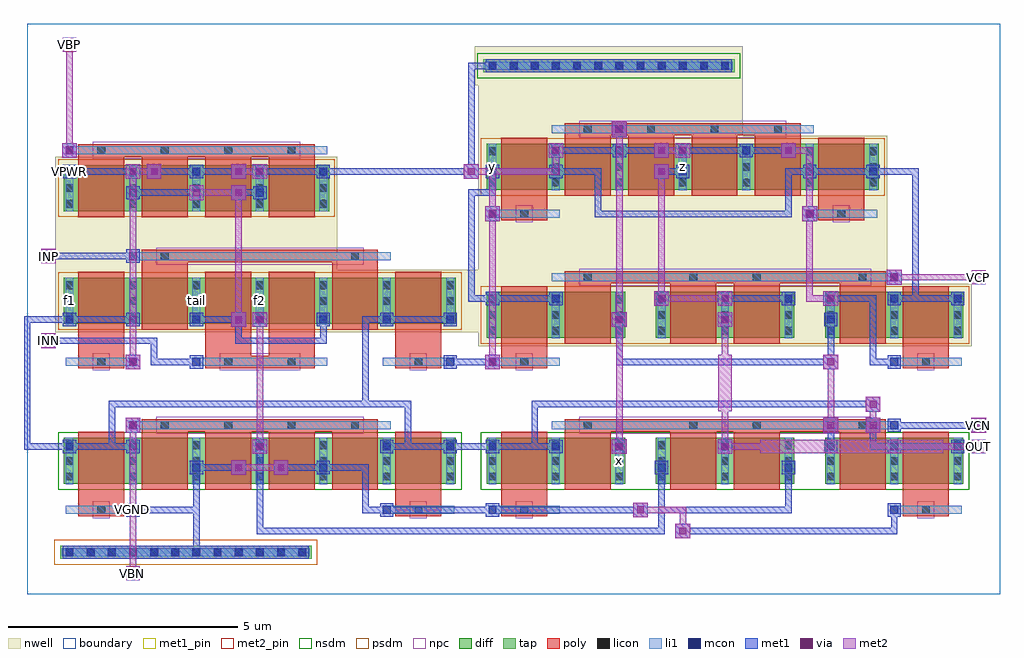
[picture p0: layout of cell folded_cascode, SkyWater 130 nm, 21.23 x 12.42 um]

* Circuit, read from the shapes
.subckt folded_cascode INN INP OUT VBN VBP VCN VCP VGND VPWR f1 f2 tail x y z
XM1 f1 VGND f1 VGND sky130_fd_pr__nfet_01v8 w=1 l=1 m=4
XM2 VGND VBN f1 VGND sky130_fd_pr__nfet_01v8 w=1 l=1 m=2
XM3 f2 VBN VGND VGND sky130_fd_pr__nfet_01v8 w=1 l=1 m=2
XM4 x VCN f1 VGND sky130_fd_pr__nfet_01v8 w=1 l=1 m=2
XM5 OUT VCN f2 VGND sky130_fd_pr__nfet_01v8 w=1 l=1 m=2
XM6 f1 VPWR f1 VPWR sky130_fd_pr__pfet_01v8 w=1 l=1 m=2
XM7 tail VBP VPWR VPWR sky130_fd_pr__pfet_01v8 w=1 l=1 m=4
XM8 tail INP f1 VPWR sky130_fd_pr__pfet_01v8 w=1 l=1 m=2
XM9 f2 INN tail VPWR sky130_fd_pr__pfet_01v8 w=1 l=1 m=2
XM10 y VPWR y VPWR sky130_fd_pr__pfet_01v8 w=1 l=1 m=4
XM11 x VCP y VPWR sky130_fd_pr__pfet_01v8 w=1 l=1 m=2
XM12 VPWR x y VPWR sky130_fd_pr__pfet_01v8 w=1 l=1 m=2
XM13 z x VPWR VPWR sky130_fd_pr__pfet_01v8 w=1 l=1 m=2
XM14 OUT VCP z VPWR sky130_fd_pr__pfet_01v8 w=1 l=1 m=2
.ends

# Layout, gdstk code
import gdstk
lib = gdstk.Library(unit=1e-6, precision=1e-09)
def R(c, l, rs):  # rectangles x0, y0, x1, y1
    for r in rs: c.add(gdstk.rectangle(r[:2], r[2:], *l))
def A(c, l, x, y, w, h, nx, ny, dx, dy):  # array of equal rectangles
    R(c, l, [(x+i*dx, y+j*dy, x+i*dx+w, y+j*dy+h) for i in range(nx) for j in range(ny)])
nwell = (64, 20)
diff = (65, 20)
tap = (65, 44)
poly = (66, 20)
licon = (66, 44)
li1 = (67, 20)
mcon = (67, 44)
met1_pin = (68, 16)
met1 = (68, 20)
via = (68, 44)
met2_pin = (69, 16)
met2 = (69, 20)
nsdm = (93, 44)
psdm = (94, 20)
npc = (95, 20)
boundary = (235, 4)

folded_cascode = lib.new_cell('folded_cascode')
R(folded_cascode, nwell, [(9.815,5.4,20.545,5.705), (0.615,5.705,20.545,6.76), (0.615,6.76,18.705,7.065), (0.615,7.065,6.745,9.52), (9.815,7.065,18.705,9.98), (9.815,9.98,15.565,11.08), (9.735,11.08,15.565,11.92)])
A(folded_cascode, diff, 9.995, 2.405, 3.01, 1, 3, 2, 3.68, 3.175)
R(folded_cascode, diff, [(0.795,2.405,9.325,3.405), (0.795,5.885,9.325,6.885), (0.795,8.34,6.565,9.34), (9.995,8.8,18.525,9.8)])
R(folded_cascode, tap, [(0.715,0.775,6.185,1.065), (9.915,11.355,15.385,11.645)])
A(folded_cascode, poly, 10.31, 1.705, 1, 0.27, 1, 3, 0, 3.22)
A(folded_cascode, poly, 2.49, 2.275, 1, 1.405, 4, 1, 1.38, 0)
A(folded_cascode, poly, 1.11, 8.21, 1, 1.45, 4, 1, 1.38, 0)
A(folded_cascode, poly, 11.69, 8.67, 1, 1.45, 4, 1, 1.38, 0)
R(folded_cascode, poly, [(1.11,1.705,2.11,1.975), (8.01,1.705,9.01,1.975), (19.05,1.705,20.05,1.975), (1.11,1.84,2.11,3.535), (8.01,1.84,9.01,3.535), (10.31,1.84,11.31,3.535), (19.05,1.84,20.05,3.535), (11.69,2.275,12.69,3.68), (13.99,2.275,14.99,3.68), (15.37,2.275,16.37,3.68), (17.67,2.275,18.67,3.68), (2.49,3.545,7.63,3.815), (11.69,3.545,18.67,3.815), (1.11,4.925,2.11,5.195), (3.87,4.925,6.25,5.195), (8.01,4.925,9.01,5.195), (19.05,4.925,20.05,5.195), (1.11,5.06,2.11,7.015), (3.87,5.06,4.87,7.015), (5.25,5.06,6.25,7.015), (8.01,5.06,9.01,7.015), (10.31,5.06,11.31,6.71), (19.05,5.06,20.05,6.71), (11.69,5.45,12.69,6.9), (13.99,5.45,14.99,6.9), (15.37,5.45,16.37,6.9), (17.67,5.45,18.67,6.9), (2.49,5.755,3.49,7.36), (6.63,5.755,7.63,7.36), (11.69,6.765,18.67,7.035), (2.49,7.225,7.63,7.495), (17.21,8.145,18.21,8.415), (10.31,8.28,11.31,9.93), (17.21,8.28,18.21,9.93), (1.11,9.525,6.25,9.795), (11.69,9.985,16.83,10.255)])
A(folded_cascode, licon, 0.835, 0.835, 0.17, 0.17, 12, 1, 0.46, 0)
A(folded_cascode, licon, 10.725, 1.755, 0.17, 0.17, 1, 3, 0, 3.22)
A(folded_cascode, licon, 0.835, 2.48, 0.17, 0.17, 7, 3, 1.38, 0.34)
A(folded_cascode, licon, 10.035, 2.48, 0.17, 0.17, 3, 3, 1.38, 0.34)
A(folded_cascode, licon, 13.715, 2.48, 0.17, 0.17, 3, 3, 1.38, 0.34)
A(folded_cascode, licon, 17.395, 2.48, 0.17, 0.17, 3, 3, 1.38, 0.34)
A(folded_cascode, licon, 2.905, 3.595, 0.17, 0.17, 4, 1, 1.38, 0)
A(folded_cascode, licon, 10.035, 5.655, 0.17, 0.17, 3, 3, 1.38, 0.34)
A(folded_cascode, licon, 13.715, 5.655, 0.17, 0.17, 3, 3, 1.38, 0.34)
A(folded_cascode, licon, 17.395, 5.655, 0.17, 0.17, 3, 3, 1.38, 0.34)
A(folded_cascode, licon, 0.835, 5.96, 0.17, 0.17, 7, 3, 1.38, 0.34)
A(folded_cascode, licon, 0.835, 8.415, 0.17, 0.17, 5, 3, 1.38, 0.34)
A(folded_cascode, licon, 10.035, 8.875, 0.17, 0.17, 7, 3, 1.38, 0.34)
A(folded_cascode, licon, 1.525, 9.575, 0.17, 0.17, 4, 1, 1.38, 0)
A(folded_cascode, licon, 12.105, 10.035, 0.17, 0.17, 4, 1, 1.38, 0)
A(folded_cascode, licon, 10.035, 11.415, 0.17, 0.17, 12, 1, 0.46, 0)
R(folded_cascode, licon, [(1.525,1.755,1.695,1.925), (8.425,1.755,8.595,1.925), (19.465,1.755,19.635,1.925), (12.105,3.595,12.275,3.765), (14.405,3.595,14.575,3.765), (15.785,3.595,15.955,3.765), (18.085,3.595,18.255,3.765), (1.525,4.975,1.695,5.145), (4.285,4.975,4.455,5.145), (5.665,4.975,5.835,5.145), (8.425,4.975,8.595,5.145), (19.465,4.975,19.635,5.145), (12.105,6.815,12.275,6.985), (14.405,6.815,14.575,6.985), (15.785,6.815,15.955,6.985), (18.085,6.815,18.255,6.985), (2.905,7.275,3.075,7.445), (7.045,7.275,7.215,7.445), (17.625,8.195,17.795,8.365)])
A(folded_cascode, li1, 10.035, 1.755, 1.55, 0.17, 1, 3, 0, 3.22)
A(folded_cascode, li1, 0.835, 2.4, 0.17, 1.01, 7, 2, 1.38, 3.48)
A(folded_cascode, li1, 10.035, 2.4, 0.17, 1.01, 3, 2, 1.38, 3.175)
A(folded_cascode, li1, 13.715, 2.4, 0.17, 1.01, 3, 2, 1.38, 3.175)
A(folded_cascode, li1, 17.395, 2.4, 0.17, 1.01, 3, 2, 1.38, 3.175)
A(folded_cascode, li1, 0.835, 8.335, 0.17, 1.01, 5, 1, 1.38, 0)
A(folded_cascode, li1, 10.035, 8.795, 0.17, 1.01, 7, 1, 1.38, 0)
R(folded_cascode, li1, [(0.755,0.835,6.145,1.005), (0.835,1.755,2.385,1.925), (7.735,1.755,9.285,1.925), (18.775,1.755,20.325,1.925), (2.215,3.595,7.905,3.765), (11.415,3.595,18.945,3.765), (0.835,4.975,2.385,5.145), (3.595,4.975,6.525,5.145), (7.735,4.975,9.285,5.145), (18.775,4.975,20.325,5.145), (11.415,6.815,18.945,6.985), (2.215,7.275,7.905,7.445), (16.935,8.195,18.485,8.365), (0.835,9.575,6.525,9.745), (11.415,10.035,17.105,10.205), (9.955,11.415,15.345,11.585)])
A(folded_cascode, mcon, 0.835, 0.835, 0.17, 0.17, 12, 1, 0.46, 0)
A(folded_cascode, mcon, 2.215, 3.135, 0.17, 0.17, 3, 1, 2.76, 0)
A(folded_cascode, mcon, 10.035, 3.135, 0.17, 0.17, 3, 1, 1.38, 0)
A(folded_cascode, mcon, 17.395, 3.135, 0.17, 0.17, 3, 1, 1.38, 0)
A(folded_cascode, mcon, 18.775, 3.595, 0.17, 0.17, 1, 3, 0, 1.38)
A(folded_cascode, mcon, 0.835, 5.895, 0.17, 0.17, 7, 1, 1.38, 0)
A(folded_cascode, mcon, 12.795, 5.895, 0.17, 0.17, 3, 1, 2.3, 0)
A(folded_cascode, mcon, 0.835, 9.115, 0.17, 0.17, 3, 1, 2.76, 0)
A(folded_cascode, mcon, 11.415, 9.115, 0.17, 0.17, 3, 1, 2.76, 0)
A(folded_cascode, mcon, 10.035, 11.415, 0.17, 0.17, 12, 1, 0.46, 0)
R(folded_cascode, mcon, [(2.215,1.755,2.385,1.925), (7.735,1.755,7.905,1.925), (10.035,1.755,10.205,1.925), (18.775,1.755,18.945,1.925), (3.595,2.675,3.765,2.845), (6.355,2.675,6.525,2.845), (13.715,2.675,13.885,2.845), (16.475,2.675,16.645,2.845), (0.835,3.135,1.005,3.305), (9.115,3.135,9.285,3.305), (15.095,3.135,15.265,3.305), (2.215,3.595,2.385,3.765), (2.215,4.975,2.385,5.145), (3.595,4.975,3.765,5.145), (9.115,4.975,9.285,5.145), (10.035,4.975,10.205,5.145), (10.035,6.355,10.205,6.525), (11.415,6.355,11.585,6.525), (13.715,6.355,13.885,6.525), (16.475,6.355,16.645,6.525), (20.155,6.355,20.325,6.525), (18.775,6.815,18.945,6.985), (2.215,7.275,2.385,7.445), (10.035,8.195,10.205,8.365), (16.935,8.195,17.105,8.365), (2.215,8.655,2.385,8.825), (4.975,8.655,5.145,8.825), (10.035,9.115,10.205,9.285), (18.315,9.115,18.485,9.285), (0.835,9.575,1.005,9.745), (12.795,9.575,12.965,9.745), (15.555,9.575,15.725,9.745), (12.795,10.035,12.965,10.205)])
R(folded_cascode, met1_pin, [(2.155,1.695,2.445,1.985), (0.775,9.055,1.065,9.345)])
A(folded_cascode, met1, 3.61, 2.69, 1.06, 0.14, 1, 3, 0, 3.22)
A(folded_cascode, met1, 2.155, 3.075, 0.29, 0.29, 3, 1, 2.76, 0)
A(folded_cascode, met1, 9.975, 3.075, 0.29, 0.29, 3, 1, 1.38, 0)
A(folded_cascode, met1, 17.335, 3.075, 0.29, 0.29, 3, 1, 1.38, 0)
A(folded_cascode, met1, 17.32, 3.52, 0.32, 0.32, 1, 3, 0, 1.38)
A(folded_cascode, met1, 18.715, 3.535, 0.29, 0.29, 1, 3, 0, 1.38)
A(folded_cascode, met1, 0.775, 5.835, 0.29, 0.29, 7, 1, 1.38, 0)
A(folded_cascode, met1, 12.735, 5.835, 0.29, 0.29, 3, 1, 2.3, 0)
A(folded_cascode, met1, 0.775, 9.055, 0.29, 0.29, 3, 1, 2.76, 0)
A(folded_cascode, met1, 11.355, 9.055, 0.29, 0.29, 3, 1, 2.76, 0)
R(folded_cascode, met1, [(0.775,0.775,6.125,1.065), (3.61,0.85,3.75,0.99), (3.61,0.85,3.75,2.83), (14.1,1.22,14.42,1.54), (4.99,1.31,13.87,1.45), (4.99,1.31,5.13,3.29), (13.73,1.31,13.87,2.83), (14.19,1.31,18.93,1.45), (18.79,1.31,18.93,1.91), (13.18,1.68,13.5,2), (2.155,1.695,2.445,1.985), (7.675,1.695,7.965,1.985), (9.975,1.695,10.265,1.985), (18.715,1.695,19.005,1.985), (2.23,1.77,3.75,1.91), (7.29,1.77,7.43,2.83), (7.29,1.77,7.89,1.91), (7.75,1.77,10.19,1.91), (10.05,1.77,13.41,1.91), (13.73,1.77,16.63,1.91), (16.49,1.77,16.63,2.83), (4.44,2.6,4.76,2.92), (5.36,2.6,5.68,2.92), (3.535,2.615,3.825,2.905), (6.295,2.615,6.585,2.905), (13.655,2.615,13.945,2.905), (16.415,2.615,16.705,2.905), (5.45,2.69,6.51,2.83), (6.37,2.69,7.43,2.83), (4.9,3.06,5.22,3.38), (12.72,3.06,13.04,3.38), (15.02,3.06,15.34,3.38), (0.775,3.075,1.065,3.365), (9.055,3.075,9.345,3.365), (15.035,3.075,15.325,3.365), (-0.07,3.15,0.99,3.29), (-0.07,3.15,0.07,6.05), (0.85,3.15,2.37,3.29), (1.77,3.15,1.91,4.21), (7.75,3.15,8.35,3.29), (8.21,3.15,9.27,3.29), (8.21,3.15,8.35,4.21), (9.13,3.15,10.19,3.29), (10.05,3.15,11.57,3.29), (10.97,3.15,11.11,4.21), (17.41,3.15,17.55,3.75), (18.33,3.15,18.93,3.29), (18.33,3.15,18.47,3.75), (18.79,3.15,20.31,3.29), (2.14,3.52,2.46,3.84), (18.24,3.52,18.56,3.84), (20.54,3.52,20.86,3.84), (2.155,3.535,2.445,3.825), (18.79,3.61,20.77,3.75), (18.24,3.98,18.56,4.3), (1.77,4.07,8.35,4.21), (7.29,4.07,7.43,6.05), (10.97,4.07,18.47,4.21), (2.14,4.9,2.46,5.22), (9.96,4.9,10.28,5.22), (2.155,4.915,2.445,5.205), (3.535,4.915,3.825,5.205), (9.055,4.915,9.345,5.205), (9.975,4.915,10.265,5.205), (2.69,4.99,3.75,5.13), (2.69,4.99,2.83,5.59), (9.13,4.99,10.19,5.13), (12.81,4.99,12.95,6.05), (12.81,4.99,17.55,5.13), (17.41,4.99,17.55,6.05), (18.33,4.99,18.47,6.51), (18.33,4.99,18.93,5.13), (0.3,5.36,0.62,5.68), (0.39,5.45,2.83,5.59), (4.53,5.45,4.67,6.05), (4.53,5.45,6.51,5.59), (6.37,5.45,6.51,6.05), (4.44,5.82,4.76,6.14), (4.9,5.82,5.22,6.14), (12.72,5.82,13.04,6.14), (15.02,5.82,15.34,6.14), (-0.07,5.91,0.99,6.05), (0.85,5.91,2.37,6.05), (7.29,5.91,7.89,6.05), (7.75,5.91,9.27,6.05), (13.64,6.28,13.96,6.6), (15.02,6.28,15.34,6.6), (9.975,6.295,10.265,6.585), (11.355,6.295,11.645,6.585), (13.655,6.295,13.945,6.585), (16.415,6.295,16.705,6.585), (20.095,6.295,20.385,6.585), (9.59,6.37,10.19,6.51), (9.59,6.37,9.73,8.81), (10.05,6.37,11.57,6.51), (15.11,6.37,16.63,6.51), (17.41,6.37,18.47,6.51), (18.79,6.37,19.39,6.51), (19.25,6.37,20.31,6.51), (19.25,6.37,19.39,9.27), (18.7,6.74,19.02,7.06), (18.715,6.755,19.005,7.045), (0.3,7.2,0.62,7.52), (2.155,7.215,2.445,7.505), (0.39,7.29,2.37,7.43), (9.96,8.12,10.28,8.44), (16.86,8.12,17.18,8.44), (9.975,8.135,10.265,8.425), (16.875,8.135,17.165,8.425), (12.35,8.21,12.49,9.27), (12.35,8.21,16.63,8.35), (16.49,8.21,16.63,9.27), (3.52,8.58,3.84,8.9), (4.44,8.58,4.76,8.9), (2.155,8.595,2.445,8.885), (4.915,8.595,5.205,8.885), (2.23,8.67,3.75,8.81), (4.53,8.67,5.13,8.81), (9.59,8.67,10.19,8.81), (10.05,8.67,10.19,9.27), (2.14,9.04,2.46,9.36), (2.6,9.04,2.92,9.36), (4.44,9.04,4.76,9.36), (4.9,9.04,5.22,9.36), (9.5,9.04,9.82,9.36), (13.64,9.04,13.96,9.36), (9.975,9.055,10.265,9.345), (18.255,9.055,18.545,9.345), (0.85,9.13,2.37,9.27), (2.69,9.13,3.75,9.27), (4.99,9.13,6.51,9.27), (6.37,9.13,9.73,9.27), (9.59,9.13,9.73,11.57), (10.05,9.13,11.57,9.27), (11.43,9.13,12.49,9.27), (13.73,9.13,14.33,9.27), (16.49,9.13,17.09,9.27), (16.95,9.13,18.47,9.27), (18.33,9.13,19.39,9.27), (0.76,9.5,1.08,9.82), (11.34,9.5,11.66,9.82), (13.64,9.5,13.96,9.82), (14.1,9.5,14.42,9.82), (16.4,9.5,16.72,9.82), (0.775,9.515,1.065,9.805), (12.735,9.515,13.025,9.805), (15.495,9.515,15.785,9.805), (11.43,9.59,12.95,9.73), (12.81,9.59,13.87,9.73), (14.19,9.59,15.71,9.73), (15.57,9.59,16.63,9.73), (12.72,9.96,13.04,10.28), (12.735,9.975,13.025,10.265), (9.975,11.355,15.325,11.645), (9.59,11.43,10.19,11.57), (10.05,11.43,10.19,11.57)])
A(folded_cascode, via, 17.405, 3.605, 0.15, 0.15, 1, 3, 0, 1.38)
R(folded_cascode, via, [(14.185,1.305,14.335,1.455), (13.265,1.765,13.415,1.915), (4.525,2.685,4.675,2.835), (5.445,2.685,5.595,2.835), (4.985,3.145,5.135,3.295), (12.805,3.145,12.955,3.295), (15.105,3.145,15.255,3.295), (2.225,3.605,2.375,3.755), (18.325,3.605,18.475,3.755), (20.625,3.605,20.775,3.755), (18.325,4.065,18.475,4.215), (2.225,4.985,2.375,5.135), (10.045,4.985,10.195,5.135), (0.385,5.445,0.535,5.595), (4.525,5.905,4.675,6.055), (4.985,5.905,5.135,6.055), (12.805,5.905,12.955,6.055), (15.105,5.905,15.255,6.055), (13.725,6.365,13.875,6.515), (15.105,6.365,15.255,6.515), (18.785,6.825,18.935,6.975), (0.385,7.285,0.535,7.435), (10.045,8.205,10.195,8.355), (16.945,8.205,17.095,8.355), (3.605,8.665,3.755,8.815), (4.525,8.665,4.675,8.815), (2.225,9.125,2.375,9.275), (2.685,9.125,2.835,9.275), (4.525,9.125,4.675,9.275), (4.985,9.125,5.135,9.275), (9.585,9.125,9.735,9.275), (13.725,9.125,13.875,9.275), (0.845,9.585,0.995,9.735), (11.425,9.585,11.575,9.735), (13.725,9.585,13.875,9.735), (14.185,9.585,14.335,9.735), (16.485,9.585,16.635,9.735), (12.805,10.045,12.955,10.195)])
R(folded_cascode, met2_pin, [(2.15,0.31,2.45,0.61), (20.55,3.07,20.85,3.37), (20.55,3.53,20.85,3.83), (0.31,5.37,0.61,5.67), (20.55,6.75,20.85,7.05), (0.31,7.21,0.61,7.51), (0.77,11.81,1.07,12.11)])
A(folded_cascode, met2, 17.32, 3.52, 0.32, 0.32, 1, 3, 0, 1.38)
R(folded_cascode, met2, [(2.15,0.31,2.45,0.61), (2.23,0.39,2.37,0.53), (2.23,0.39,2.37,3.75), (14.1,1.22,14.42,1.54), (14.19,1.31,14.33,1.91), (13.18,1.68,13.5,2), (13.27,1.77,14.33,1.91), (4.44,2.6,4.76,2.92), (5.36,2.6,5.68,2.92), (4.53,2.69,5.59,2.83), (4.9,3.06,5.22,3.38), (12.72,3.06,13.04,3.38), (15.02,3.06,15.34,3.38), (15.95,3.07,19.93,3.37), (20.55,3.07,20.85,3.37), (4.99,3.15,5.13,6.05), (12.81,3.15,12.95,6.05), (15.11,3.15,15.25,4.21), (15.11,3.15,16.17,3.29), (19.71,3.15,20.77,3.29), (20.63,3.15,20.77,3.29), (2.14,3.52,2.46,3.84), (18.24,3.52,18.56,3.84), (20.54,3.52,20.86,3.84), (20.55,3.53,20.85,3.83), (17.41,3.61,17.55,5.13), (18.33,3.61,18.47,4.21), (20.63,3.61,20.77,3.75), (18.24,3.98,18.56,4.3), (15.03,3.99,15.33,5.21), (2.14,4.9,2.46,5.22), (9.96,4.9,10.28,5.22), (2.23,4.99,2.37,9.27), (10.05,4.99,10.19,8.35), (15.11,4.99,15.25,6.05), (0.3,5.36,0.62,5.68), (0.31,5.37,0.61,5.67), (0.39,5.45,0.53,5.59), (4.44,5.82,4.76,6.14), (4.9,5.82,5.22,6.14), (12.72,5.82,13.04,6.14), (15.02,5.82,15.34,6.14), (4.53,5.91,4.67,8.81), (12.81,5.91,12.95,10.19), (13.64,6.28,13.96,6.6), (15.02,6.28,15.34,6.6), (13.73,6.37,13.87,9.27), (13.73,6.37,15.25,6.51), (16.95,6.37,17.55,6.51), (16.95,6.37,17.09,8.35), (18.7,6.74,19.02,7.06), (20.55,6.75,20.85,7.05), (18.79,6.83,20.77,6.97), (20.63,6.83,20.77,6.97), (0.3,7.2,0.62,7.52), (0.31,7.21,0.61,7.51), (0.39,7.29,0.53,7.43), (9.96,8.12,10.28,8.44), (16.86,8.12,17.18,8.44), (10.05,8.21,10.19,9.27), (16.95,8.21,17.09,9.73), (3.52,8.58,3.84,8.9), (4.44,8.58,4.76,8.9), (3.61,8.67,4.67,8.81), (2.14,9.04,2.46,9.36), (2.6,9.04,2.92,9.36), (4.44,9.04,4.76,9.36), (4.9,9.04,5.22,9.36), (9.5,9.04,9.82,9.36), (13.64,9.04,13.96,9.36), (2.23,9.13,2.83,9.27), (4.53,9.13,5.13,9.27), (9.59,9.13,10.19,9.27), (10.05,9.13,11.57,9.27), (11.43,9.13,11.57,9.73), (0.76,9.5,1.08,9.82), (11.34,9.5,11.66,9.82), (13.64,9.5,13.96,9.82), (14.1,9.5,14.42,9.82), (16.4,9.5,16.72,9.82), (0.85,9.59,0.99,12.03), (13.73,9.59,14.33,9.73), (16.49,9.59,17.09,9.73), (12.72,9.96,13.04,10.28), (0.77,11.81,1.07,12.11), (0.85,11.89,0.99,12.03)])
R(folded_cascode, nsdm, [(0.67,2.28,9.45,3.53), (9.87,2.28,20.49,3.53), (9.79,11.23,15.51,11.77)])
R(folded_cascode, psdm, [(0.59,0.65,6.31,1.19), (9.87,5.455,20.49,6.705), (0.67,5.76,9.45,7.01), (0.67,8.215,6.69,9.465), (9.87,8.675,18.65,9.925)])
A(folded_cascode, npc, 10.625, 1.655, 0.37, 0.37, 1, 3, 0, 3.22)
R(folded_cascode, npc, [(1.425,1.655,1.795,2.025), (8.325,1.655,8.695,2.025), (19.365,1.655,19.735,2.025), (2.805,3.495,7.315,3.865), (12.005,3.495,18.355,3.865), (1.425,4.875,1.795,5.245), (4.185,4.875,5.935,5.245), (8.325,4.875,8.695,5.245), (19.365,4.875,19.735,5.245), (12.005,6.715,18.355,7.085), (2.805,7.175,7.315,7.545), (17.525,8.095,17.895,8.465), (1.425,9.475,5.935,9.845), (12.005,9.935,16.515,10.305)])
R(folded_cascode, boundary, [(0,0,21.16,12.42)])
folded_cascode.add(gdstk.Label('f1', (0.92,6.385), layer=67, texttype=5))
folded_cascode.add(gdstk.Label('tail', (3.68,6.385), layer=67, texttype=5))
folded_cascode.add(gdstk.Label('f2', (5.06,6.385), layer=67, texttype=5))
folded_cascode.add(gdstk.Label('x', (12.88,2.905), layer=67, texttype=5))
folded_cascode.add(gdstk.Label('y', (10.12,9.3), layer=67, texttype=5))
folded_cascode.add(gdstk.Label('z', (14.26,9.3), layer=67, texttype=5))
folded_cascode.add(gdstk.Label('VPWR', (0.92,9.2), layer=68, texttype=5))
folded_cascode.add(gdstk.Label('VGND', (2.3,1.84), layer=68, texttype=5))
folded_cascode.add(gdstk.Label('INP', (0.46,7.36), layer=69, texttype=5))
folded_cascode.add(gdstk.Label('INN', (0.46,5.52), layer=69, texttype=5))
folded_cascode.add(gdstk.Label('VBP', (0.92,11.96), layer=69, texttype=5))
folded_cascode.add(gdstk.Label('VBN', (2.3,0.46), layer=69, texttype=5))
folded_cascode.add(gdstk.Label('VCN', (20.7,3.68), layer=69, texttype=5))
folded_cascode.add(gdstk.Label('VCP', (20.7,6.9), layer=69, texttype=5))
folded_cascode.add(gdstk.Label('OUT', (20.7,3.22), layer=69, texttype=5))
folded_cascode.add(gdstk.Label('VPWR', (0.92,9.2), layer=68, texttype=16))
folded_cascode.add(gdstk.Label('VGND', (2.3,1.84), layer=68, texttype=16))
folded_cascode.add(gdstk.Label('INP', (0.46,7.36), layer=69, texttype=16))
folded_cascode.add(gdstk.Label('INN', (0.46,5.52), layer=69, texttype=16))
folded_cascode.add(gdstk.Label('VBP', (0.92,11.96), layer=69, texttype=16))
folded_cascode.add(gdstk.Label('VBN', (2.3,0.46), layer=69, texttype=16))
folded_cascode.add(gdstk.Label('VCN', (20.7,3.68), layer=69, texttype=16))
folded_cascode.add(gdstk.Label('VCP', (20.7,6.9), layer=69, texttype=16))
folded_cascode.add(gdstk.Label('OUT', (20.7,3.22), layer=69, texttype=16))

lib.write_gds('folded_cascode.gds')
